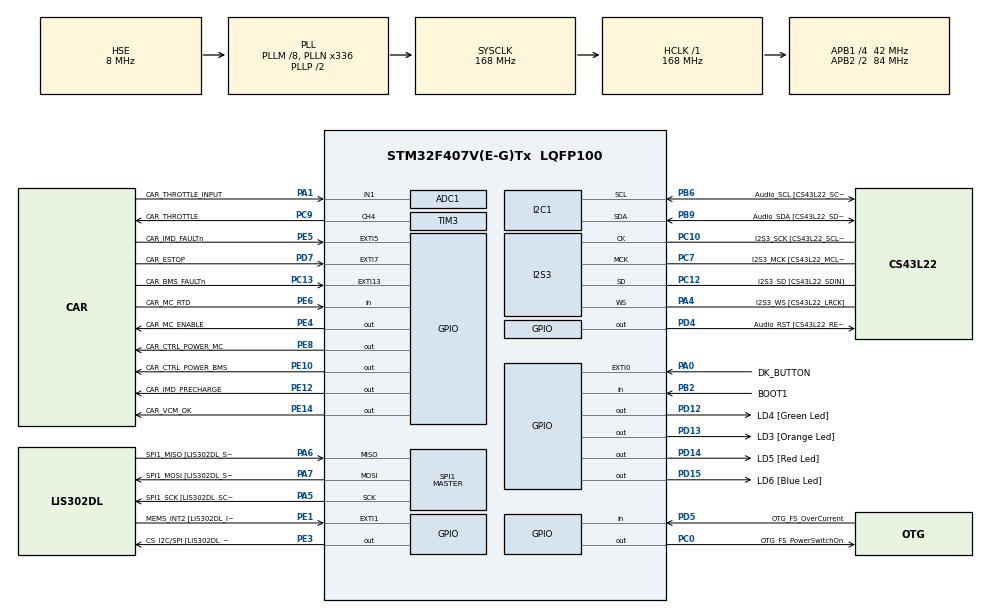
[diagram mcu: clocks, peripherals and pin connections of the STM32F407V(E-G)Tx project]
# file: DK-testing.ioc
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ADC1.Channel-0\#ChannelRegularConversion=ADC_CHANNEL_1
ADC1.ContinuousConvMode=ENABLE
ADC1.EOCSelection=ADC_EOC_SEQ_CONV
ADC1.NbrOfConversionFlag=1
ADC1.Rank-0\#ChannelRegularConversion=1
ADC1.SamplingTime-0\#ChannelRegularConversion=ADC_SAMPLETIME_3CYCLES
ADC1.master=1
I2S3.AudioFreq-Half_Duplex_Master=I2S_AUDIOFREQ_96K
I2S3.ErrorAudioFreq=-2.34 %
I2S3.ErrorAudioFreq-Half_Duplex_Master=0.8 %
I2S3.FullDuplexMode=I2S_FULLDUPLEXMODE_DISABLE
I2S3.Instance=SPI$Index
I2S3.RealAudioFreq=93.75 KHz
I2S3.RealAudioFreq-Half_Duplex_Master=96.774 KHz
I2S3.VirtualMode=I2S_MODE_MASTER
Mcu.Family=STM32F4
Mcu.Name=STM32F407V(E-G)Tx
Mcu.Package=LQFP100
NVIC.EXTI0_IRQn=true\:0\:0\:false\:false\:true\:true\:true
NVIC.EXTI15_10_IRQn=true\:0\:0\:false\:false\:true\:true\:true
NVIC.EXTI9_5_IRQn=true\:0\:0\:false\:false\:true\:true\:true
NVIC.PriorityGroup=NVIC_PRIORITYGROUP_0
PA0-WKUP.GPIO_Label=DK_BUTTON
PA0-WKUP.Signal=GPXTI0
PA1.GPIO_Label=CAR_THROTTLE_INPUT
PA1.Signal=ADCx_IN1
PA10.GPIO_Label=OTG_FS_ID
PA10.GPIO_Mode=GPIO_MODE_AF_PP
PA10.GPIO_PuPd=GPIO_NOPULL
PA10.GPIO_Speed=GPIO_SPEED_FREQ_LOW
PA10.Signal=USB_OTG_FS_ID
PA11.GPIO_Label=OTG_FS_DM
PA11.GPIO_Mode=GPIO_MODE_AF_PP
PA11.GPIO_PuPd=GPIO_NOPULL
PA11.GPIO_Speed=GPIO_SPEED_FREQ_LOW
PA11.Signal=USB_OTG_FS_DM
PA12.GPIO_Label=OTG_FS_DP
PA12.GPIO_Mode=GPIO_MODE_AF_PP
PA12.GPIO_PuPd=GPIO_NOPULL
PA12.GPIO_Speed=GPIO_SPEED_FREQ_LOW
PA12.Signal=USB_OTG_FS_DP
PA13.GPIO_Label=SWDIO
PA13.Mode=Serial_Wire
PA13.Signal=SYS_JTMS-SWDIO
PA14.GPIO_Label=SWCLK
PA14.Mode=Serial_Wire
PA14.Signal=SYS_JTCK-SWCLK
PA4.GPIO_Label=I2S3_WS [CS43L22_LRCK]
PA4.GPIO_Mode=GPIO_MODE_AF_PP
PA4.GPIO_PuPd=GPIO_NOPULL
PA4.GPIO_Speed=GPIO_SPEED_FREQ_LOW
PA4.Mode=Half_Duplex_Master
PA4.Signal=I2S3_WS
PA5.GPIO_Label=SPI1_SCK [LIS302DL_SCL/SPC]
PA5.GPIO_Mode=GPIO_MODE_AF_PP
PA5.GPIO_PuPd=GPIO_NOPULL
PA5.GPIO_Speed=GPIO_SPEED_FREQ_LOW
PA5.Mode=Full_Duplex_Master
PA5.Signal=SPI1_SCK
PA6.GPIO_Label=SPI1_MISO [LIS302DL_SDO]
PA6.GPIO_Mode=GPIO_MODE_AF_PP
PA6.GPIO_PuPd=GPIO_NOPULL
PA6.GPIO_Speed=GPIO_SPEED_FREQ_LOW
PA6.Mode=Full_Duplex_Master
PA6.Signal=SPI1_MISO
PA7.GPIO_Label=SPI1_MOSI [LIS302DL_SDA/SDI/SDO]
PA7.GPIO_Mode=GPIO_MODE_AF_PP
PA7.GPIO_PuPd=GPIO_NOPULL
PA7.GPIO_Speed=GPIO_SPEED_FREQ_LOW
PA7.Mode=Full_Duplex_Master
PA7.Signal=SPI1_MOSI
PA9.GPIO_Label=VBUS_FS
PA9.GPIO_Mode=GPIO_MODE_INPUT
PA9.GPIO_PuPd=GPIO_NOPULL
PA9.Signal=USB_OTG_FS_VBUS
PB10.GPIO_Label=CLK_IN [MP45DT02_CLK]
PB10.GPIO_Mode=GPIO_MODE_AF_PP
PB10.GPIO_PuPd=GPIO_NOPULL
PB10.GPIO_Speed=GPIO_SPEED_FREQ_LOW
PB10.Signal=I2S2_CK
PB2.GPIO_Label=BOOT1
PB2.GPIO_Mode=GPIO_MODE_INPUT
PB2.GPIO_PuPd=GPIO_NOPULL
PB2.Signal=GPIO_Input
PB3.GPIO_Label=SWO
PB3.Signal=SYS_JTDO-SWO
PB6.GPIO_Label=Audio_SCL [CS43L22_SCL]
PB6.GPIO_Mode=GPIO_MODE_AF_OD
PB6.GPIO_PuPd=GPIO_NOPULL
PB6.GPIO_Speed=GPIO_SPEED_FREQ_LOW
PB6.Mode=I2C
PB6.Signal=I2C1_SCL
PB9.GPIO_Label=Audio_SDA [CS43L22_SDA]
PB9.GPIO_Mode=GPIO_MODE_AF_OD
PB9.GPIO_PuPd=GPIO_NOPULL
PB9.GPIO_Speed=GPIO_SPEED_FREQ_LOW
PB9.Mode=I2C
PB9.Signal=I2C1_SDA
PC0.GPIO_Label=OTG_FS_PowerSwitchOn
PC0.GPIO_PuPd=GPIO_NOPULL
PC0.GPIO_Speed=GPIO_SPEED_FREQ_LOW
PC0.PinState=GPIO_PIN_SET
PC0.Signal=GPIO_Output
PC10.GPIO_Label=I2S3_SCK [CS43L22_SCLK]
PC10.GPIO_Mode=GPIO_MODE_AF_PP
PC10.GPIO_PuPd=GPIO_NOPULL
PC10.GPIO_Speed=GPIO_SPEED_FREQ_LOW
PC10.Mode=Half_Duplex_Master
PC10.Signal=I2S3_CK
PC12.GPIO_Label=I2S3_SD [CS43L22_SDIN]
PC12.GPIO_Mode=GPIO_MODE_AF_PP
PC12.GPIO_PuPd=GPIO_NOPULL
PC12.GPIO_Speed=GPIO_SPEED_FREQ_LOW
PC12.Mode=Half_Duplex_Master
PC12.Signal=I2S3_SD
PC13-ANTI_TAMP.GPIO_Label=CAR_BMS_FAULTn
PC13-ANTI_TAMP.GPIO_ModeDefaultEXTI=GPIO_MODE_IT_RISING_FALLING
PC13-ANTI_TAMP.GPIO_PuPd=GPIO_PULLDOWN
PC13-ANTI_TAMP.Signal=GPXTI13
PC14-OSC32_IN.GPIO_Label=PC14-OSC32_IN
PC14-OSC32_IN.Mode=LSE-External-Oscillator
PC14-OSC32_IN.Signal=RCC_OSC32_IN
PC15-OSC32_OUT.GPIO_Label=PC15-OSC32_OUT
PC15-OSC32_OUT.Mode=LSE-External-Oscillator
PC15-OSC32_OUT.Signal=RCC_OSC32_OUT
PC3.GPIO_Label=PDM_OUT [MP45DT02_DOUT]
PC3.GPIO_Mode=GPIO_MODE_AF_PP
PC3.GPIO_PuPd=GPIO_NOPULL
PC3.GPIO_Speed=GPIO_SPEED_FREQ_LOW
PC3.Signal=I2S2_SD
PC7.GPIO_Label=I2S3_MCK [CS43L22_MCLK]
PC7.GPIO_Mode=GPIO_MODE_AF_PP
PC7.GPIO_PuPd=GPIO_NOPULL
PC7.GPIO_Speed=GPIO_SPEED_FREQ_LOW
PC7.Mode=Master_Clock_Activated
PC7.Signal=I2S3_MCK
PC8.GPIO_Label=CAR_BRAKE
PC8.Signal=S_TIM3_CH3
PC9.GPIO_Label=CAR_THROTTLE
PC9.Signal=S_TIM3_CH4
PD12.GPIO_Label=LD4 [Green Led]
PD12.GPIO_PuPd=GPIO_NOPULL
PD12.GPIO_Speed=GPIO_SPEED_FREQ_LOW
PD12.Signal=GPIO_Output
PD13.GPIO_Label=LD3 [Orange Led]
PD13.GPIO_PuPd=GPIO_NOPULL
PD13.GPIO_Speed=GPIO_SPEED_FREQ_LOW
PD13.Signal=GPIO_Output
PD14.GPIO_Label=LD5 [Red Led]
PD14.GPIO_PuPd=GPIO_NOPULL
PD14.GPIO_Speed=GPIO_SPEED_FREQ_LOW
PD14.Signal=GPIO_Output
PD15.GPIO_Label=LD6 [Blue Led]
PD15.GPIO_PuPd=GPIO_NOPULL
PD15.GPIO_Speed=GPIO_SPEED_FREQ_LOW
PD15.Signal=GPIO_Output
PD4.GPIO_Label=Audio_RST [CS43L22_RESET]
PD4.GPIO_PuPd=GPIO_NOPULL
PD4.GPIO_Speed=GPIO_SPEED_FREQ_LOW
PD4.Signal=GPIO_Output
PD5.GPIO_Label=OTG_FS_OverCurrent
PD5.GPIO_Mode=GPIO_MODE_INPUT
PD5.GPIO_PuPd=GPIO_NOPULL
PD5.Signal=GPIO_Input
PD7.GPIO_Label=CAR_ESTOP
PD7.GPIO_ModeDefaultEXTI=GPIO_MODE_IT_RISING_FALLING
PD7.GPIO_PuPd=GPIO_PULLUP
PD7.Signal=GPXTI7
PE1.GPIO_Label=MEMS_INT2 [LIS302DL_INT2]
PE1.GPIO_ModeDefaultEXTI=GPIO_MODE_EVT_RISING
PE1.GPIO_PuPd=GPIO_NOPULL
PE1.Signal=GPXTI1
PE10.GPIO_Label=CAR_CTRL_POWER_BMS
PE10.Signal=GPIO_Output
PE12.GPIO_Label=CAR_IMD_PRECHARGE
PE12.Signal=GPIO_Output
PE14.GPIO_Label=CAR_VCM_OK
PE14.Signal=GPIO_Output
PE3.GPIO_Label=CS_I2C/SPI [LIS302DL_CS_I2C/SPI]
PE3.GPIO_PuPd=GPIO_NOPULL
PE3.GPIO_Speed=GPIO_SPEED_FREQ_LOW
PE3.Signal=GPIO_Output
PE4.GPIO_Label=CAR_MC_ENABLE
PE4.Signal=GPIO_Output
PE5.GPIO_Label=CAR_IMD_FAULTn
PE5.GPIO_ModeDefaultEXTI=GPIO_MODE_IT_RISING_FALLING
PE5.GPIO_PuPd=GPIO_PULLDOWN
PE5.Signal=GPXTI5
PE6.GPIO_Label=CAR_MC_RTD
PE6.GPIO_PuPd=GPIO_PULLDOWN
PE6.Signal=GPIO_Input
PE8.GPIO_Label=CAR_CTRL_POWER_MC
PE8.Signal=GPIO_Output
PH0-OSC_IN.GPIO_Label=PH0-OSC_IN
PH0-OSC_IN.Mode=HSE-External-Oscillator
PH0-OSC_IN.Signal=RCC_OSC_IN
PH1-OSC_OUT.GPIO_Label=PH1-OSC_OUT
PH1-OSC_OUT.Mode=HSE-External-Oscillator
PH1-OSC_OUT.Signal=RCC_OSC_OUT
ProjectManager.HeapSize=0x200
ProjectManager.StackSize=0x400
ProjectManager.TargetToolchain=SW4STM32
RCC.48MHZClocksFreq_Value=48000000
RCC.AHBFreq_Value=168000000
RCC.APB1CLKDivider=RCC_HCLK_DIV4
RCC.APB1Freq_Value=42000000
RCC.APB1TimFreq_Value=84000000
RCC.APB2CLKDivider=RCC_HCLK_DIV2
RCC.APB2Freq_Value=84000000
RCC.APB2TimFreq_Value=168000000
RCC.CortexFreq_Value=168000000
RCC.HCLKFreq_Value=168000000
RCC.HSE_VALUE=8000000
RCC.HSI_VALUE=16000000
RCC.PLLM=8
RCC.PLLN=336
RCC.PLLQ=7
RCC.PLLSourceVirtual=RCC_PLLSOURCE_HSE
RCC.SYSCLKFreq_VALUE=168000000
RCC.SYSCLKSource=RCC_SYSCLKSOURCE_PLLCLK
RCC.VCOOutputFreq_Value=336000000
SH.ADCx_IN1.0=ADC1_IN1,IN1
SH.S_TIM3_CH3.0=TIM3_CH3
SH.S_TIM3_CH4.0=TIM3_CH4,PWM Generation4 CH4
SPI1.BaudRatePrescaler-Full_Duplex_Master=SPI_BAUDRATEPRESCALER_2
SPI1.CalculateBaudRate-Full_Duplex_Master=42.0 MBits/s
SPI1.Direction=SPI_DIRECTION_2LINES
SPI1.Mode=SPI_MODE_MASTER
SPI1.Mode-Full_Duplex_Master=SPI_MODE_MASTER
SPI1.VirtualType=VM_MASTER
TIM3.Channel-PWM\ Generation4\ CH4=TIM_CHANNEL_4
TIM3.Period=840
TIM3.Prescaler=19
board=STM32F407G-DISC1

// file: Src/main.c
/* USER CODE BEGIN Header */
/**
  ******************************************************************************
  * @file           : main.c
  * @brief          : Main program body
  ******************************************************************************
  * @attention
  *
  * <h2><center>&copy; Copyright (c) 2019 STMicroelectronics.
  * All rights reserved.</center></h2>
  *
  * This software component is licensed by ST under Ultimate Liberty license
  * SLA0044, the "License"; You may not use this file except in compliance with
  * the License. You may obtain a copy of the License at:
  *                             www.st.com/SLA0044
  *
  ******************************************************************************
  */
/* USER CODE END Header */

#include "main.h"

/* USER CODE BEGIN Includes */
#include <stdio.h>
#include <stdbool.h>
/* USER CODE END Includes */

/* USER CODE BEGIN PD */
#define THROTTLE_MIN_STOP 650
#define THROTTLE_IDLE_THRESHOLD 100 // 100 / 4096 = 2.5%
/* USER CODE END PD */

ADC_HandleTypeDef hadc1;

I2C_HandleTypeDef hi2c1;

I2S_HandleTypeDef hi2s3;

SPI_HandleTypeDef hspi1;

TIM_HandleTypeDef htim3;

/* USER CODE BEGIN PV */

typedef struct {
	volatile bool STATE_IMD_OK;
	volatile bool STATE_BMS_OK;
	volatile bool STATE_ESTOP_OK;
} vcm_peripheral_state_e;

volatile uint32_t throttle_filtered;

vcm_peripheral_state_e car_state;
/* USER CODE END PV */

void SystemClock_Config(void);
static void MX_GPIO_Init(void);
static void MX_I2C1_Init(void);
static void MX_I2S3_Init(void);
static void MX_SPI1_Init(void);
static void MX_TIM3_Init(void);
static void MX_ADC1_Init(void);
/* USER CODE BEGIN PFP */
extern void initialise_monitor_handles(void);

static void CAR_read_throttle();
static void CAR_set_speed(uint32_t speed_percent);
/* USER CODE END PFP */

int main(void)
{
  /* USER CODE BEGIN 1 */
	initialise_monitor_handles();
  /* USER CODE END 1 */

  /* MCU Configuration--------------------------------------------------------*/

  /* Reset of all peripherals, Initializes the Flash interface and the Systick. */
  HAL_Init();

  /* USER CODE BEGIN Init */
  printf("RR20E DK Test Init\n");
  /* USER CODE END Init */

  /* Configure the system clock */
  SystemClock_Config();

  /* Initialize all configured peripherals */
  MX_GPIO_Init();
  MX_I2C1_Init();
  MX_I2S3_Init();
  MX_SPI1_Init();
  MX_TIM3_Init();
  MX_ADC1_Init();
  /* USER CODE BEGIN 2 */

  //Power to BMS and MC
  HAL_GPIO_WritePin(CAR_CTRL_POWER_MC_GPIO_Port, CAR_CTRL_POWER_MC_Pin, GPIO_PIN_SET);
  printf("[Init] MC Powered ON\n");

  HAL_GPIO_WritePin(CAR_CTRL_POWER_BMS_GPIO_Port, CAR_CTRL_POWER_BMS_Pin, GPIO_PIN_SET);
  printf("[Init] IMD and BMS Powered ON\n");

  //Check Faults
  printf("[Init] eSTOP State: ");
  car_state.STATE_ESTOP_OK = !HAL_GPIO_ReadPin(CAR_ESTOP_GPIO_Port, CAR_ESTOP_Pin);
  if(car_state.STATE_ESTOP_OK == false){
	  printf("Fault\n");
	  while(car_state.STATE_ESTOP_OK != true);;
  }
  else printf("OK\n");

  printf("[Init] BMS State: ");
  car_state.STATE_BMS_OK = HAL_GPIO_ReadPin(CAR_BMS_FAULTn_GPIO_Port, CAR_BMS_FAULTn_Pin);
  if(car_state.STATE_BMS_OK == false){
	  printf("Fault\n");
	  while(car_state.STATE_BMS_OK != true);;
  }
  else printf("OK\n");

  printf("[Init] IMD State: ");
  car_state.STATE_IMD_OK = HAL_GPIO_ReadPin(CAR_IMD_FAULTn_GPIO_Port, CAR_IMD_FAULTn_Pin);
  if(car_state.STATE_IMD_OK == false){
	  printf("Fault\n");
	  while(car_state.STATE_IMD_OK != true);;
  }
  else printf("OK\n");

  //VCM ok
  HAL_GPIO_WritePin(CAR_VCM_OK_GPIO_Port ,CAR_VCM_OK_Pin, GPIO_PIN_SET);
  printf("[Init] Closed HV Battery Contactors\n");

  // Short precharge resistors after 1000ms
  printf("[Init] Precharging...\n");
  HAL_Delay(1000);
  HAL_GPIO_WritePin(CAR_IMD_PRECHARGE_GPIO_Port , CAR_IMD_PRECHARGE_Pin, GPIO_PIN_SET);
  printf("[Init] Precharge Complete\n");

  HAL_ADC_Start(&hadc1);
  for(uint8_t i=0;i<50;i++){
	  // Fill up the IIR filter with initial values
	  CAR_read_throttle();
  }
  if(throttle_filtered > THROTTLE_IDLE_THRESHOLD) printf("[Init] Return throttle to idle\n");
  while(throttle_filtered > THROTTLE_IDLE_THRESHOLD) CAR_read_throttle();

  //enable MC
  HAL_Delay(500);
  HAL_GPIO_WritePin(CAR_MC_ENABLE_GPIO_Port , CAR_MC_ENABLE_Pin, GPIO_PIN_SET);
  printf("[Init] MC Enabled\n");

  while(HAL_GPIO_ReadPin(CAR_MC_RTD_GPIO_Port,  CAR_MC_RTD_Pin) == GPIO_PIN_RESET);
  printf("[Init] Ready to drive\n");

  /* USER CODE END 2 */

  /* Infinite loop */
  /* USER CODE BEGIN WHILE */
  while (1)
  {
	  if(car_state.STATE_BMS_OK && car_state.STATE_IMD_OK && car_state.STATE_ESTOP_OK){
		  CAR_read_throttle();

		  uint8_t mc_speed_percent = throttle_filtered / 41;
		  CAR_set_speed(mc_speed_percent);

		  // Limit print output
		  static uint8_t i=0;
		  if(i++ == 50){
			  printf("[Running] Throttle: %d \n", mc_speed_percent);
			  i = 0;
		  }
	  }
	  else{
		  printf("[Fault] Exiting Run State\n");
		  CAR_set_speed(0);
		  HAL_GPIO_WritePin(CAR_VCM_OK_GPIO_Port ,CAR_VCM_OK_Pin, GPIO_PIN_RESET);

		  return 1;
	  }
    /* USER CODE END WHILE */

  }
}

void SystemClock_Config(void)
{
  RCC_OscInitTypeDef RCC_OscInitStruct = {0};
  RCC_ClkInitTypeDef RCC_ClkInitStruct = {0};
  RCC_PeriphCLKInitTypeDef PeriphClkInitStruct = {0};

  /** Configure the main internal regulator output voltage
  */
  __HAL_RCC_PWR_CLK_ENABLE();
  __HAL_PWR_VOLTAGESCALING_CONFIG(PWR_REGULATOR_VOLTAGE_SCALE1);
  /** Initializes the CPU, AHB and APB busses clocks
  */
  RCC_OscInitStruct.OscillatorType = RCC_OSCILLATORTYPE_HSE;
  RCC_OscInitStruct.HSEState = RCC_HSE_ON;
  RCC_OscInitStruct.PLL.PLLState = RCC_PLL_ON;
  RCC_OscInitStruct.PLL.PLLSource = RCC_PLLSOURCE_HSE;
  RCC_OscInitStruct.PLL.PLLM = 8;
  RCC_OscInitStruct.PLL.PLLN = 336;
  RCC_OscInitStruct.PLL.PLLP = RCC_PLLP_DIV2;
  RCC_OscInitStruct.PLL.PLLQ = 7;
  if (HAL_RCC_OscConfig(&RCC_OscInitStruct) != HAL_OK)
  {
    Error_Handler();
  }
  /** Initializes the CPU, AHB and APB busses clocks
  */
  RCC_ClkInitStruct.ClockType = RCC_CLOCKTYPE_HCLK|RCC_CLOCKTYPE_SYSCLK
                              |RCC_CLOCKTYPE_PCLK1|RCC_CLOCKTYPE_PCLK2;
  RCC_ClkInitStruct.SYSCLKSource = RCC_SYSCLKSOURCE_PLLCLK;
  RCC_ClkInitStruct.AHBCLKDivider = RCC_SYSCLK_DIV1;
  RCC_ClkInitStruct.APB1CLKDivider = RCC_HCLK_DIV4;
  RCC_ClkInitStruct.APB2CLKDivider = RCC_HCLK_DIV2;

  if (HAL_RCC_ClockConfig(&RCC_ClkInitStruct, FLASH_LATENCY_5) != HAL_OK)
  {
    Error_Handler();
  }
  PeriphClkInitStruct.PeriphClockSelection = RCC_PERIPHCLK_I2S;
  PeriphClkInitStruct.PLLI2S.PLLI2SN = 192;
  PeriphClkInitStruct.PLLI2S.PLLI2SR = 2;
  if (HAL_RCCEx_PeriphCLKConfig(&PeriphClkInitStruct) != HAL_OK)
  {
    Error_Handler();
  }
}

static void MX_ADC1_Init(void)
{

  ADC_ChannelConfTypeDef sConfig = {0};

  /** Configure the global features of the ADC (Clock, Resolution, Data Alignment and number of conversion)
  */
  hadc1.Instance = ADC1;
  hadc1.Init.ClockPrescaler = ADC_CLOCK_SYNC_PCLK_DIV4;
  hadc1.Init.Resolution = ADC_RESOLUTION_12B;
  hadc1.Init.ScanConvMode = DISABLE;
  hadc1.Init.ContinuousConvMode = ENABLE;
  hadc1.Init.DiscontinuousConvMode = DISABLE;
  hadc1.Init.ExternalTrigConvEdge = ADC_EXTERNALTRIGCONVEDGE_NONE;
  hadc1.Init.ExternalTrigConv = ADC_SOFTWARE_START;
  hadc1.Init.DataAlign = ADC_DATAALIGN_RIGHT;
  hadc1.Init.NbrOfConversion = 1;
  hadc1.Init.DMAContinuousRequests = DISABLE;
  hadc1.Init.EOCSelection = ADC_EOC_SEQ_CONV;
  if (HAL_ADC_Init(&hadc1) != HAL_OK)
  {
    Error_Handler();
  }
  /** Configure for the selected ADC regular channel its corresponding rank in the sequencer and its sample time.
  */
  sConfig.Channel = ADC_CHANNEL_1;
  sConfig.Rank = 1;
  sConfig.SamplingTime = ADC_SAMPLETIME_3CYCLES;
  if (HAL_ADC_ConfigChannel(&hadc1, &sConfig) != HAL_OK)
  {
    Error_Handler();
  }

}

static void MX_I2C1_Init(void)
{

  hi2c1.Instance = I2C1;
  hi2c1.Init.ClockSpeed = 100000;
  hi2c1.Init.DutyCycle = I2C_DUTYCYCLE_2;
  hi2c1.Init.OwnAddress1 = 0;
  hi2c1.Init.AddressingMode = I2C_ADDRESSINGMODE_7BIT;
  hi2c1.Init.DualAddressMode = I2C_DUALADDRESS_DISABLE;
  hi2c1.Init.OwnAddress2 = 0;
  hi2c1.Init.GeneralCallMode = I2C_GENERALCALL_DISABLE;
  hi2c1.Init.NoStretchMode = I2C_NOSTRETCH_DISABLE;
  if (HAL_I2C_Init(&hi2c1) != HAL_OK)
  {
    Error_Handler();
  }

}

static void MX_I2S3_Init(void)
{

  hi2s3.Instance = SPI3;
  hi2s3.Init.Mode = I2S_MODE_MASTER_TX;
  hi2s3.Init.Standard = I2S_STANDARD_PHILIPS;
  hi2s3.Init.DataFormat = I2S_DATAFORMAT_16B;
  hi2s3.Init.MCLKOutput = I2S_MCLKOUTPUT_ENABLE;
  hi2s3.Init.AudioFreq = I2S_AUDIOFREQ_96K;
  hi2s3.Init.CPOL = I2S_CPOL_LOW;
  hi2s3.Init.ClockSource = I2S_CLOCK_PLL;
  hi2s3.Init.FullDuplexMode = I2S_FULLDUPLEXMODE_DISABLE;
  if (HAL_I2S_Init(&hi2s3) != HAL_OK)
  {
    Error_Handler();
  }

}

static void MX_SPI1_Init(void)
{

  /* SPI1 parameter configuration*/
  hspi1.Instance = SPI1;
  hspi1.Init.Mode = SPI_MODE_MASTER;
  hspi1.Init.Direction = SPI_DIRECTION_2LINES;
  hspi1.Init.DataSize = SPI_DATASIZE_8BIT;
  hspi1.Init.CLKPolarity = SPI_POLARITY_LOW;
  hspi1.Init.CLKPhase = SPI_PHASE_1EDGE;
  hspi1.Init.NSS = SPI_NSS_SOFT;
  hspi1.Init.BaudRatePrescaler = SPI_BAUDRATEPRESCALER_2;
  hspi1.Init.FirstBit = SPI_FIRSTBIT_MSB;
  hspi1.Init.TIMode = SPI_TIMODE_DISABLE;
  hspi1.Init.CRCCalculation = SPI_CRCCALCULATION_DISABLE;
  hspi1.Init.CRCPolynomial = 10;
  if (HAL_SPI_Init(&hspi1) != HAL_OK)
  {
    Error_Handler();
  }

}

static void MX_TIM3_Init(void)
{

  TIM_MasterConfigTypeDef sMasterConfig = {0};
  TIM_OC_InitTypeDef sConfigOC = {0};

  htim3.Instance = TIM3;
  htim3.Init.Prescaler = 19;
  htim3.Init.CounterMode = TIM_COUNTERMODE_UP;
  htim3.Init.Period = 840;
  htim3.Init.ClockDivision = TIM_CLOCKDIVISION_DIV1;
  htim3.Init.AutoReloadPreload = TIM_AUTORELOAD_PRELOAD_DISABLE;
  if (HAL_TIM_PWM_Init(&htim3) != HAL_OK)
  {
    Error_Handler();
  }
  sMasterConfig.MasterOutputTrigger = TIM_TRGO_RESET;
  sMasterConfig.MasterSlaveMode = TIM_MASTERSLAVEMODE_DISABLE;
  if (HAL_TIMEx_MasterConfigSynchronization(&htim3, &sMasterConfig) != HAL_OK)
  {
    Error_Handler();
  }
  sConfigOC.OCMode = TIM_OCMODE_PWM1;
  sConfigOC.Pulse = 0;
  sConfigOC.OCPolarity = TIM_OCPOLARITY_HIGH;
  sConfigOC.OCFastMode = TIM_OCFAST_DISABLE;
  if (HAL_TIM_PWM_ConfigChannel(&htim3, &sConfigOC, TIM_CHANNEL_4) != HAL_OK)
  {
    Error_Handler();
  }
  HAL_TIM_MspPostInit(&htim3);

}

static void MX_GPIO_Init(void)
{
  GPIO_InitTypeDef GPIO_InitStruct = {0};

  /* GPIO Ports Clock Enable */
  __HAL_RCC_GPIOE_CLK_ENABLE();
  __HAL_RCC_GPIOC_CLK_ENABLE();
  __HAL_RCC_GPIOH_CLK_ENABLE();
  __HAL_RCC_GPIOA_CLK_ENABLE();
  __HAL_RCC_GPIOB_CLK_ENABLE();
  __HAL_RCC_GPIOD_CLK_ENABLE();

  /*Configure GPIO pin Output Level */
  HAL_GPIO_WritePin(GPIOE, CS_I2C_SPI_Pin|CAR_MC_ENABLE_Pin|CAR_CTRL_POWER_MC_Pin|CAR_CTRL_POWER_BMS_Pin
                          |CAR_IMD_PRECHARGE_Pin|CAR_VCM_OK_Pin, GPIO_PIN_RESET);

  /*Configure GPIO pin Output Level */
  HAL_GPIO_WritePin(OTG_FS_PowerSwitchOn_GPIO_Port, OTG_FS_PowerSwitchOn_Pin, GPIO_PIN_SET);

  /*Configure GPIO pin Output Level */
  HAL_GPIO_WritePin(GPIOD, LD4_Pin|LD3_Pin|LD5_Pin|LD6_Pin
                          |Audio_RST_Pin, GPIO_PIN_RESET);

  /*Configure GPIO pins : CS_I2C_SPI_Pin CAR_MC_ENABLE_Pin CAR_CTRL_POWER_MC_Pin CAR_CTRL_POWER_BMS_Pin
                           CAR_IMD_PRECHARGE_Pin CAR_VCM_OK_Pin */
  GPIO_InitStruct.Pin = CS_I2C_SPI_Pin|CAR_MC_ENABLE_Pin|CAR_CTRL_POWER_MC_Pin|CAR_CTRL_POWER_BMS_Pin
                          |CAR_IMD_PRECHARGE_Pin|CAR_VCM_OK_Pin;
  GPIO_InitStruct.Mode = GPIO_MODE_OUTPUT_PP;
  GPIO_InitStruct.Pull = GPIO_NOPULL;
  GPIO_InitStruct.Speed = GPIO_SPEED_FREQ_LOW;
  HAL_GPIO_Init(GPIOE, &GPIO_InitStruct);

  /*Configure GPIO pin : CAR_IMD_FAULTn_Pin */
  GPIO_InitStruct.Pin = CAR_IMD_FAULTn_Pin;
  GPIO_InitStruct.Mode = GPIO_MODE_IT_RISING_FALLING;
  GPIO_InitStruct.Pull = GPIO_PULLDOWN;
  HAL_GPIO_Init(CAR_IMD_FAULTn_GPIO_Port, &GPIO_InitStruct);

  /*Configure GPIO pin : CAR_MC_RTD_Pin */
  GPIO_InitStruct.Pin = CAR_MC_RTD_Pin;
  GPIO_InitStruct.Mode = GPIO_MODE_INPUT;
  GPIO_InitStruct.Pull = GPIO_PULLDOWN;
  HAL_GPIO_Init(CAR_MC_RTD_GPIO_Port, &GPIO_InitStruct);

  /*Configure GPIO pin : CAR_BMS_FAULTn_Pin */
  GPIO_InitStruct.Pin = CAR_BMS_FAULTn_Pin;
  GPIO_InitStruct.Mode = GPIO_MODE_IT_RISING_FALLING;
  GPIO_InitStruct.Pull = GPIO_PULLDOWN;
  HAL_GPIO_Init(CAR_BMS_FAULTn_GPIO_Port, &GPIO_InitStruct);

  /*Configure GPIO pin : OTG_FS_PowerSwitchOn_Pin */
  GPIO_InitStruct.Pin = OTG_FS_PowerSwitchOn_Pin;
  GPIO_InitStruct.Mode = GPIO_MODE_OUTPUT_PP;
  GPIO_InitStruct.Pull = GPIO_NOPULL;
  GPIO_InitStruct.Speed = GPIO_SPEED_FREQ_LOW;
  HAL_GPIO_Init(OTG_FS_PowerSwitchOn_GPIO_Port, &GPIO_InitStruct);

  /*Configure GPIO pin : PDM_OUT_Pin */
  GPIO_InitStruct.Pin = PDM_OUT_Pin;
  GPIO_InitStruct.Mode = GPIO_MODE_AF_PP;
  GPIO_InitStruct.Pull = GPIO_NOPULL;
  GPIO_InitStruct.Speed = GPIO_SPEED_FREQ_LOW;
  GPIO_InitStruct.Alternate = GPIO_AF5_SPI2;
  HAL_GPIO_Init(PDM_OUT_GPIO_Port, &GPIO_InitStruct);

  /*Configure GPIO pin : DK_BUTTON_Pin */
  GPIO_InitStruct.Pin = DK_BUTTON_Pin;
  GPIO_InitStruct.Mode = GPIO_MODE_IT_RISING;
  GPIO_InitStruct.Pull = GPIO_NOPULL;
  HAL_GPIO_Init(DK_BUTTON_GPIO_Port, &GPIO_InitStruct);

  /*Configure GPIO pin : BOOT1_Pin */
  GPIO_InitStruct.Pin = BOOT1_Pin;
  GPIO_InitStruct.Mode = GPIO_MODE_INPUT;
  GPIO_InitStruct.Pull = GPIO_NOPULL;
  HAL_GPIO_Init(BOOT1_GPIO_Port, &GPIO_InitStruct);

  /*Configure GPIO pin : CLK_IN_Pin */
  GPIO_InitStruct.Pin = CLK_IN_Pin;
  GPIO_InitStruct.Mode = GPIO_MODE_AF_PP;
  GPIO_InitStruct.Pull = GPIO_NOPULL;
  GPIO_InitStruct.Speed = GPIO_SPEED_FREQ_LOW;
  GPIO_InitStruct.Alternate = GPIO_AF5_SPI2;
  HAL_GPIO_Init(CLK_IN_GPIO_Port, &GPIO_InitStruct);

  /*Configure GPIO pins : LD4_Pin LD3_Pin LD5_Pin LD6_Pin
                           Audio_RST_Pin */
  GPIO_InitStruct.Pin = LD4_Pin|LD3_Pin|LD5_Pin|LD6_Pin
                          |Audio_RST_Pin;
  GPIO_InitStruct.Mode = GPIO_MODE_OUTPUT_PP;
  GPIO_InitStruct.Pull = GPIO_NOPULL;
  GPIO_InitStruct.Speed = GPIO_SPEED_FREQ_LOW;
  HAL_GPIO_Init(GPIOD, &GPIO_InitStruct);

  /*Configure GPIO pin : VBUS_FS_Pin */
  GPIO_InitStruct.Pin = VBUS_FS_Pin;
  GPIO_InitStruct.Mode = GPIO_MODE_INPUT;
  GPIO_InitStruct.Pull = GPIO_NOPULL;
  HAL_GPIO_Init(VBUS_FS_GPIO_Port, &GPIO_InitStruct);

  /*Configure GPIO pins : OTG_FS_ID_Pin OTG_FS_DM_Pin OTG_FS_DP_Pin */
  GPIO_InitStruct.Pin = OTG_FS_ID_Pin|OTG_FS_DM_Pin|OTG_FS_DP_Pin;
  GPIO_InitStruct.Mode = GPIO_MODE_AF_PP;
  GPIO_InitStruct.Pull = GPIO_NOPULL;
  GPIO_InitStruct.Speed = GPIO_SPEED_FREQ_LOW;
  GPIO_InitStruct.Alternate = GPIO_AF10_OTG_FS;
  HAL_GPIO_Init(GPIOA, &GPIO_InitStruct);

  /*Configure GPIO pin : OTG_FS_OverCurrent_Pin */
  GPIO_InitStruct.Pin = OTG_FS_OverCurrent_Pin;
  GPIO_InitStruct.Mode = GPIO_MODE_INPUT;
  GPIO_InitStruct.Pull = GPIO_NOPULL;
  HAL_GPIO_Init(OTG_FS_OverCurrent_GPIO_Port, &GPIO_InitStruct);

  /*Configure GPIO pin : CAR_ESTOP_Pin */
  GPIO_InitStruct.Pin = CAR_ESTOP_Pin;
  GPIO_InitStruct.Mode = GPIO_MODE_IT_RISING_FALLING;
  GPIO_InitStruct.Pull = GPIO_PULLUP;
  HAL_GPIO_Init(CAR_ESTOP_GPIO_Port, &GPIO_InitStruct);

  /*Configure GPIO pin : MEMS_INT2_Pin */
  GPIO_InitStruct.Pin = MEMS_INT2_Pin;
  GPIO_InitStruct.Mode = GPIO_MODE_EVT_RISING;
  GPIO_InitStruct.Pull = GPIO_NOPULL;
  HAL_GPIO_Init(MEMS_INT2_GPIO_Port, &GPIO_InitStruct);

  /* EXTI interrupt init*/
  HAL_NVIC_SetPriority(EXTI0_IRQn, 0, 0);
  HAL_NVIC_EnableIRQ(EXTI0_IRQn);

  HAL_NVIC_SetPriority(EXTI9_5_IRQn, 0, 0);
  HAL_NVIC_EnableIRQ(EXTI9_5_IRQn);

  HAL_NVIC_SetPriority(EXTI15_10_IRQn, 0, 0);
  HAL_NVIC_EnableIRQ(EXTI15_10_IRQn);

}

/* USER CODE BEGIN 4 */
void HAL_GPIO_EXTI_Callback(uint16_t GPIO_Pin){

	bool event_ok;

	switch(GPIO_Pin){
	case DK_BUTTON_Pin:
		if(HAL_GPIO_ReadPin(DK_BUTTON_GPIO_Port, DK_BUTTON_Pin) == 0){
			printf("[Interrupt] Button Pressed\n");
		}
		else printf("[Interrupt] Button Released\n");
		break;

	case CAR_ESTOP_Pin:
		event_ok = HAL_GPIO_ReadPin(CAR_ESTOP_GPIO_Port, CAR_ESTOP_Pin) ? false:true;
		if(event_ok != car_state.STATE_ESTOP_OK){
			car_state.STATE_ESTOP_OK = event_ok;
			if(car_state.STATE_ESTOP_OK == true) printf("[Interrupt] eStop Released\n");
			else printf("[Interrupt] eStop Pressed\n");
		}
		break;

	case CAR_BMS_FAULTn_Pin:
		event_ok = HAL_GPIO_ReadPin(CAR_BMS_FAULTn_GPIO_Port, CAR_BMS_FAULTn_Pin) ? true:false;
		if(event_ok != car_state.STATE_BMS_OK){
			car_state.STATE_BMS_OK = event_ok;
			if(car_state.STATE_BMS_OK == true) printf("[Interrupt] BMS Fault Cleared\n");
			else printf("[Interrupt] BMS Fault Set\n");
		}
		break;

	case CAR_IMD_FAULTn_Pin:
		event_ok = HAL_GPIO_ReadPin(CAR_IMD_FAULTn_GPIO_Port, CAR_IMD_FAULTn_Pin) ? true:false;
		if(event_ok != car_state.STATE_IMD_OK){
			car_state.STATE_IMD_OK = event_ok;
			if(car_state.STATE_IMD_OK == true) printf("[Interrupt] IMD Fault Cleared\n");
			else printf("[Interrupt] IMD Fault Set\n");
		}
		break;

	default:
		printf("[Interrupt] Pin %d interrupt unhandled", GPIO_Pin);
	}
}

static void CAR_read_throttle(){
	HAL_ADC_PollForConversion(&hadc1, 1000);
	uint32_t throttle_reading = HAL_ADC_GetValue(&hadc1) - THROTTLE_MIN_STOP;
	throttle_filtered = (15*throttle_filtered + throttle_reading) >> 4;
}

static void CAR_set_speed(uint32_t speed_percent){
	static TIM_OC_InitTypeDef sConfigOC = {	.OCMode = TIM_OCMODE_PWM1,
											.Pulse = 0,
											.OCPolarity = TIM_OCPOLARITY_HIGH,
											.OCFastMode = TIM_OCFAST_DISABLE
											};

	if(speed_percent > 100) sConfigOC.Pulse = 0;
	else sConfigOC.Pulse = (uint32_t)(speed_percent * 8.4);

	if (HAL_TIM_PWM_ConfigChannel(&htim3, &sConfigOC, TIM_CHANNEL_4) != HAL_OK)
	{
	Error_Handler();
	}
	HAL_TIM_PWM_Start(&htim3, TIM_CHANNEL_4);
}
/* USER CODE END 4 */

void Error_Handler(void)
{
}

/************************ (C) COPYRIGHT STMicroelectronics *****END OF FILE****/
